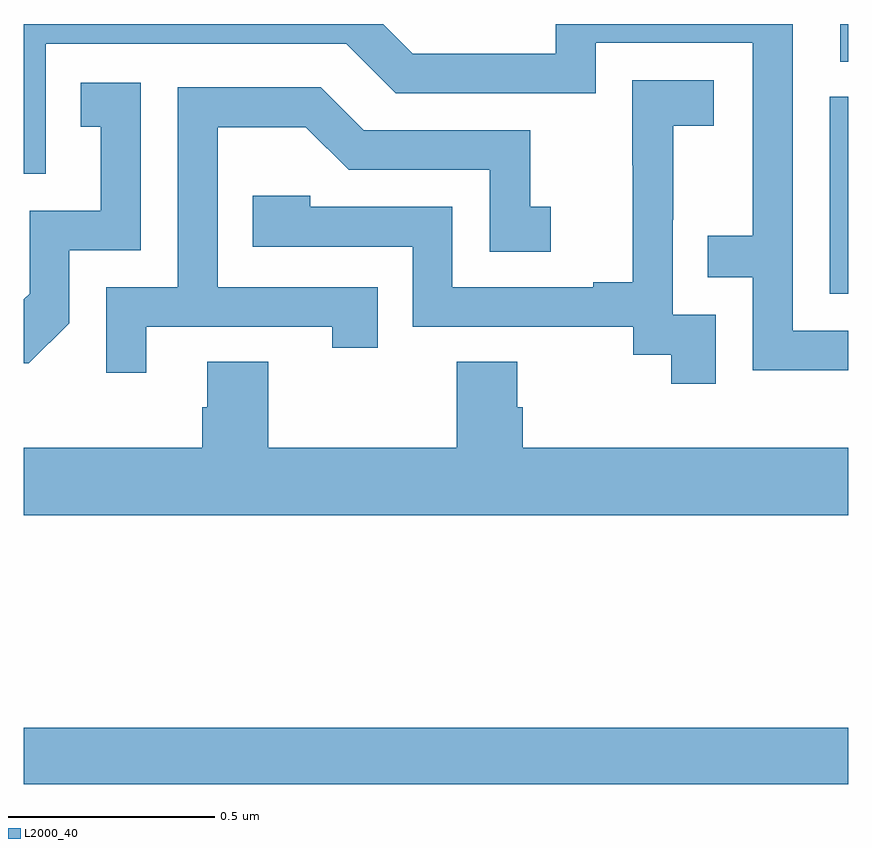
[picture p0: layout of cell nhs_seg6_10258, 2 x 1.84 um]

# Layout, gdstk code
import gdstk
lib = gdstk.Library(unit=1e-6, precision=1e-09)
def R(c, l, rs):  # rectangles x0, y0, x1, y1
    for r in rs: c.add(gdstk.rectangle(r[:2], r[2:], *l))
def P(c, l, *ps):  # polygons
    for p in ps: c.add(gdstk.Polygon(p, *l))
L2000_40 = (2000, 40)

nhs_seg6_10258 = lib.new_cell('nhs_seg6_10258')
R(nhs_seg6_10258, L2000_40, [(244,974.656,246,974.792), (245.955,975.846,246,976.323), (245.981,976.408,246,976.5)])
P(nhs_seg6_10258, L2000_40, [(246,975.756),(245.865,975.756),(245.865,976.5),(245.291,976.5),(245.291,976.428),(244.944,976.428),(244.872,976.5),(244,976.5),(244,976.137),(244.053,976.137),(244.053,976.452),(244.782,976.452),(244.902,976.332),(245.388,976.332),(245.388,976.455),(245.769,976.455),(245.769,975.986),(245.659,975.986),(245.659,975.885),(245.769,975.885),(245.769,975.66),(246,975.66)],
  [(245.679,975.795),(245.574,975.795),(245.574,976.025),(245.576,976.025),(245.576,976.253),(245.674,976.253),(245.674,976.363),(245.476,976.363),(245.476,976.157),(245.477,976.157),(245.477,975.874),(245.381,975.874),(245.381,975.861),(245.04,975.861),(245.04,976.056),(244.695,976.056),(244.695,976.083),(244.555,976.083),(244.555,975.96),(244.944,975.96),(244.944,975.765),(245.478,975.765),(245.478,975.697),(245.571,975.697),(245.571,975.627),(245.679,975.627)],
  [(244.11,975.774),(244.11,975.951),(244.284,975.951),(244.284,976.357),(244.138,976.357),(244.138,976.251),(244.187,976.251),(244.187,976.047),(244.014,976.047),(244.014,975.846),(244,975.832),(244,975.677),(244.012,975.677)],
  [(244.297,975.765),(244.748,975.765),(244.748,975.714),(244.859,975.714),(244.859,975.861),(244.47,975.861),(244.47,976.25),(244.684,976.25),(244.788,976.146),(245.13,976.146),(245.13,975.948),(245.278,975.948),(245.278,976.057),(245.229,976.057),(245.229,976.242),(244.825,976.242),(244.72,976.347),(244.374,976.347),(244.374,975.861),(244.2,975.861),(244.2,975.654),(244.297,975.654)],
  [(246,975.472),(245.21,975.472),(245.21,975.57),(245.197,975.57),(245.197,975.68),(245.05,975.68),(245.05,975.472),(244.593,975.472),(244.593,975.68),(244.445,975.68),(244.445,975.57),(244.433,975.57),(244.433,975.472),(244,975.472),(244,975.308),(246,975.308)])

lib.write_gds('nhs_seg6_10258.gds')
